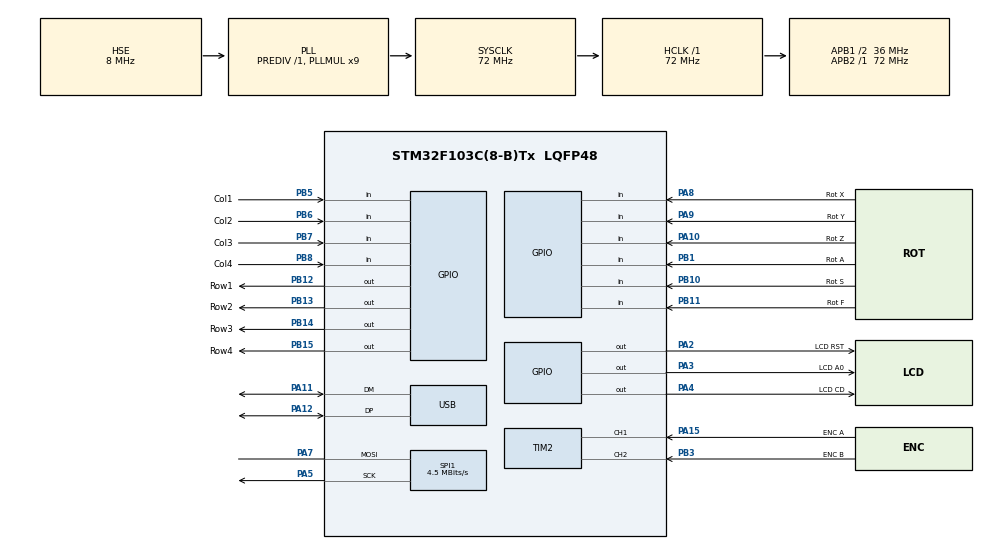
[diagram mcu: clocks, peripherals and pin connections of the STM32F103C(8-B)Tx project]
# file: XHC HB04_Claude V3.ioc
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Dma.Request0=SPI1_TX
Dma.SPI1_TX.0.Direction=DMA_MEMORY_TO_PERIPH
Dma.SPI1_TX.0.Instance=DMA1_Channel3
Dma.SPI1_TX.0.MemDataAlignment=DMA_MDATAALIGN_BYTE
Dma.SPI1_TX.0.MemInc=DMA_MINC_ENABLE
Dma.SPI1_TX.0.Mode=DMA_NORMAL
Dma.SPI1_TX.0.PeriphDataAlignment=DMA_PDATAALIGN_BYTE
Dma.SPI1_TX.0.PeriphInc=DMA_PINC_DISABLE
Dma.SPI1_TX.0.Priority=DMA_PRIORITY_HIGH
Mcu.Family=STM32F1
Mcu.Name=STM32F103C(8-B)Tx
Mcu.Package=LQFP48
NVIC.DMA1_Channel3_IRQn=true\:0\:0\:false\:false\:true\:false\:true\:true
NVIC.PriorityGroup=NVIC_PRIORITYGROUP_4
NVIC.USB_LP_CAN1_RX0_IRQn=true\:0\:0\:false\:false\:true\:false\:true\:true
PA10.GPIO_Label=Rot Z
PA10.GPIO_PuPd=GPIO_PULLUP
PA10.Signal=GPIO_Input
PA11.Mode=Device
PA11.Signal=USB_DM
PA12.Mode=Device
PA12.Signal=USB_DP
PA13.Mode=Serial_Wire
PA13.Signal=SYS_JTMS-SWDIO
PA14.Mode=Serial_Wire
PA14.Signal=SYS_JTCK-SWCLK
PA15.GPIO_Label=ENC A
PA15.GPIO_PuPd=GPIO_PULLUP
PA15.Signal=S_TIM2_CH1_ETR
PA2.GPIO_Label=LCD RST
PA2.Signal=GPIO_Output
PA3.GPIO_Label=LCD A0
PA3.Signal=GPIO_Output
PA4.GPIO_Label=LCD CD
PA4.Signal=GPIO_Output
PA5.Mode=Simplex_Bidirectional_Master
PA5.Signal=SPI1_SCK
PA7.Mode=Simplex_Bidirectional_Master
PA7.Signal=SPI1_MOSI
PA8.GPIO_Label=Rot X
PA8.GPIO_PuPd=GPIO_PULLUP
PA8.Signal=GPIO_Input
PA9.GPIO_Label=Rot Y
PA9.GPIO_PuPd=GPIO_PULLUP
PA9.Signal=GPIO_Input
PB1.GPIO_Label=Rot A
PB1.GPIO_PuPd=GPIO_PULLUP
PB1.Signal=GPIO_Input
PB10.GPIO_Label=Rot S
PB10.GPIO_PuPd=GPIO_PULLUP
PB10.Signal=GPIO_Input
PB11.GPIO_Label=Rot F
PB11.GPIO_PuPd=GPIO_PULLUP
PB11.Signal=GPIO_Input
PB12.GPIO_Label=Row1
PB12.GPIO_ModeDefaultOutputPP=GPIO_MODE_OUTPUT_OD
PB12.GPIO_PuPd=GPIO_NOPULL
PB12.Signal=GPIO_Output
PB13.GPIO_Label=Row2
PB13.GPIO_ModeDefaultOutputPP=GPIO_MODE_OUTPUT_OD
PB13.GPIO_PuPd=GPIO_NOPULL
PB13.Signal=GPIO_Output
PB14.GPIO_Label=Row3
PB14.GPIO_ModeDefaultOutputPP=GPIO_MODE_OUTPUT_OD
PB14.GPIO_PuPd=GPIO_NOPULL
PB14.Signal=GPIO_Output
PB15.GPIO_Label=Row4
PB15.GPIO_ModeDefaultOutputPP=GPIO_MODE_OUTPUT_OD
PB15.GPIO_PuPd=GPIO_NOPULL
PB15.Signal=GPIO_Output
PB3.GPIO_Label=ENC B
PB3.GPIO_PuPd=GPIO_PULLUP
PB3.Signal=S_TIM2_CH2
PB5.GPIO_Label=Col1
PB5.GPIO_PuPd=GPIO_PULLUP
PB5.Signal=GPIO_Input
PB6.GPIO_Label=Col2
PB6.GPIO_PuPd=GPIO_PULLUP
PB6.Signal=GPIO_Input
PB7.GPIO_Label=Col3
PB7.GPIO_PuPd=GPIO_PULLUP
PB7.Signal=GPIO_Input
PB8.GPIO_Label=Col4
PB8.GPIO_PuPd=GPIO_PULLUP
PB8.Signal=GPIO_Input
PD0-OSC_IN.Mode=HSE-External-Oscillator
PD0-OSC_IN.Signal=RCC_OSC_IN
PD1-OSC_OUT.Mode=HSE-External-Oscillator
PD1-OSC_OUT.Signal=RCC_OSC_OUT
ProjectManager.HeapSize=0x200
ProjectManager.StackSize=0x400
ProjectManager.TargetToolchain=STM32CubeIDE
RCC.AHBFreq_Value=72000000
RCC.APB1CLKDivider=RCC_HCLK_DIV2
RCC.APB1Freq_Value=36000000
RCC.APB1TimFreq_Value=72000000
RCC.APB2Freq_Value=72000000
RCC.APB2TimFreq_Value=72000000
RCC.HCLKFreq_Value=72000000
RCC.PLLMUL=RCC_PLL_MUL9
RCC.SYSCLKFreq_VALUE=72000000
RCC.SYSCLKSource=RCC_SYSCLKSOURCE_PLLCLK
RCC.USBFreq_Value=48000000
RCC.USBPrescaler=RCC_USBCLKSOURCE_PLL_DIV1_5
SH.S_TIM2_CH1_ETR.0=TIM2_CH1,Encoder_Interface
SH.S_TIM2_CH2.0=TIM2_CH2,Encoder_Interface
SPI1.BaudRatePrescaler=SPI_BAUDRATEPRESCALER_16
SPI1.CalculateBaudRate=4.5 MBits/s
SPI1.Direction=SPI_DIRECTION_1LINE
SPI1.Mode=SPI_MODE_MASTER
SPI1.VirtualType=VM_MASTER
TIM2.EncoderMode=TIM_ENCODERMODE_TI12
TIM2.IC1Filter=4
TIM2.IC2Filter=4
USB_DEVICE.CLASS_NAME_FS=CUSTOM_HID
USB_DEVICE.USBD_CUSTOM_HID_REPORT_DESC_SIZE=41
USB_DEVICE.VirtualMode=CustomHid
USB_DEVICE.VirtualModeFS=Custom_Hid_FS
VP_USB_DEVICE_VS_USB_DEVICE_CUSTOM_HID_FS.Mode=CUSTOM_HID_FS
board=custom

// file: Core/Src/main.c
/* USER CODE BEGIN Header */
/**
  ******************************************************************************
  * @file           : main.c
  * @brief          : Main program body
  ******************************************************************************
  * @attention
  *
  * Copyright (c) 2025 STMicroelectronics.
  * All rights reserved.
  *
  * This software is licensed under terms that can be found in the LICENSE file
  * in the root directory of this software component.
  * If no LICENSE file comes with this software, it is provided AS-IS.
  *
  ******************************************************************************
  */
/* USER CODE END Header */
#include "main.h"
#include "dma.h"
#include "spi.h"
#include "tim.h"
#include "usb_device.h"
#include "gpio.h"

/* USER CODE BEGIN Includes */
#include "xhc_receive.h"
#include "XHC_DataStructures.h"
#include "xhc_main.h"
#include "st7735_dma.h"
#include "GFX_FUNCTIONS.h"
#include "encoder_cubeide.h"
#include "button_matrix.h"
#include "rotary_switch.h"
#include "xhc_display_ui.h"
/* USER CODE END Includes */

/* USER CODE BEGIN PV */
/* XHC HB04 Variablen */
extern struct whb04_out_data output_report;
extern struct whb0x_in_data in_report;
extern volatile uint32_t debug_setreport_calls;
extern volatile uint32_t debug_outevent_calls;
/* USER CODE END PV */

void SystemClock_Config(void);

int main(void)
{

  /* MCU Configuration--------------------------------------------------------*/

  /* Reset of all peripherals, Initializes the Flash interface and the Systick. */
  HAL_Init();

  /* Configure the system clock */
  SystemClock_Config();

  /* Initialize all configured peripherals */
  MX_GPIO_Init();
  MX_DMA_Init();
  MX_SPI1_Init();
  MX_USB_DEVICE_Init();
  MX_TIM2_Init();
  /* USER CODE BEGIN 2 */
  ST7735_Init();

  xhc_custom_hid_init();
  encoder_init();
  button_matrix_init();
  rotary_switch_init();
  xhc_ui_init();
  xhc_ui_update_status_bar(rotary_switch_read(), output_report.step_mul);
  //run_display_performance_tests();

  //fillScreen(WHITE);
  //testAll();
  /* USER CODE END 2 */

  /* Infinite loop */
  /* USER CODE BEGIN WHILE */
  while (1)
  {
	  xhc_main_loop();
	  //xhc_main_loop_encoder_only();
	  //encoder_display_test();
	  //button_matrix_display_test();
	  //rotary_switch_display_test();// <- NEU: Button-Test
    /* USER CODE END WHILE */

  }
}

void SystemClock_Config(void)
{
  RCC_OscInitTypeDef RCC_OscInitStruct = {0};
  RCC_ClkInitTypeDef RCC_ClkInitStruct = {0};
  RCC_PeriphCLKInitTypeDef PeriphClkInit = {0};

  /** Initializes the RCC Oscillators according to the specified parameters
  * in the RCC_OscInitTypeDef structure.
  */
  RCC_OscInitStruct.OscillatorType = RCC_OSCILLATORTYPE_HSE;
  RCC_OscInitStruct.HSEState = RCC_HSE_ON;
  RCC_OscInitStruct.HSEPredivValue = RCC_HSE_PREDIV_DIV1;
  RCC_OscInitStruct.HSIState = RCC_HSI_ON;
  RCC_OscInitStruct.PLL.PLLState = RCC_PLL_ON;
  RCC_OscInitStruct.PLL.PLLSource = RCC_PLLSOURCE_HSE;
  RCC_OscInitStruct.PLL.PLLMUL = RCC_PLL_MUL9;
  if (HAL_RCC_OscConfig(&RCC_OscInitStruct) != HAL_OK)
  {
    Error_Handler();
  }

  /** Initializes the CPU, AHB and APB buses clocks
  */
  RCC_ClkInitStruct.ClockType = RCC_CLOCKTYPE_HCLK|RCC_CLOCKTYPE_SYSCLK
                              |RCC_CLOCKTYPE_PCLK1|RCC_CLOCKTYPE_PCLK2;
  RCC_ClkInitStruct.SYSCLKSource = RCC_SYSCLKSOURCE_PLLCLK;
  RCC_ClkInitStruct.AHBCLKDivider = RCC_SYSCLK_DIV1;
  RCC_ClkInitStruct.APB1CLKDivider = RCC_HCLK_DIV2;
  RCC_ClkInitStruct.APB2CLKDivider = RCC_HCLK_DIV1;

  if (HAL_RCC_ClockConfig(&RCC_ClkInitStruct, FLASH_LATENCY_2) != HAL_OK)
  {
    Error_Handler();
  }
  PeriphClkInit.PeriphClockSelection = RCC_PERIPHCLK_USB;
  PeriphClkInit.UsbClockSelection = RCC_USBCLKSOURCE_PLL_DIV1_5;
  if (HAL_RCCEx_PeriphCLKConfig(&PeriphClkInit) != HAL_OK)
  {
    Error_Handler();
  }
}

/* USER CODE BEGIN 4 */

/**
 * @brief Debug-Funktion für empfangene XHC-Daten
 */
void xhc_debug_received_data(void)
{
  /* Diese Funktion kann in xhc_process_received_data() aufgerufen werden */

  /* Oder Debug-Ausgabe über UART */
  printf("XHC Data: Magic=0x%04X, Day=%d, X=%d.%d\r\n",
         output_report.magic,
         output_report.day,
         output_report.pos[0].p_int,
         output_report.pos[0].p_frac);
}
/* USER CODE END 4 */

void Error_Handler(void)
{
  __disable_irq();
  while (1)
  {
  }
}
